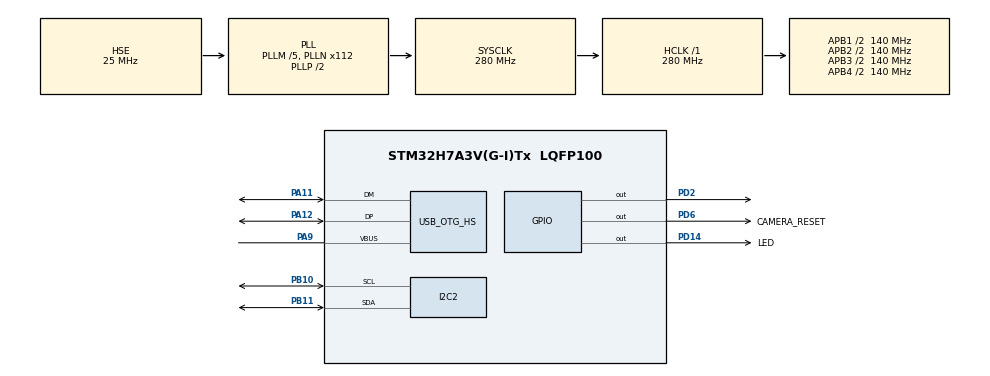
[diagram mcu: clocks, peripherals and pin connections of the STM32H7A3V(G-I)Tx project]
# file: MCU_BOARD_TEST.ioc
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CORTEX_M7.AccessPermission_Spec=MPU_REGION_FULL_ACCESS
CORTEX_M7.BaseAddress_Spec=0x30000000
CORTEX_M7.CPU_DCache=Enabled
CORTEX_M7.CPU_ICache=Enabled
CORTEX_M7.MPU_Control=MPU_PRIVILEGED_DEFAULT
CORTEX_M7.Size_Spec=MPU_REGION_SIZE_4KB
CORTEX_M7.SubRegionDisable_Spec=0x0
CORTEX_M7.default_mode_Activation=1
I2C2.Timing=0x20B0CCFF
Mcu.Family=STM32H7
Mcu.Name=STM32H7A3V(G-I)Tx
Mcu.Package=LQFP100
NVIC.OTG_HS_IRQn=true\:0\:0\:false\:false\:true\:false\:true\:true
NVIC.PriorityGroup=NVIC_PRIORITYGROUP_4
PA11.GPIO_Speed=GPIO_SPEED_FREQ_VERY_HIGH
PA11.Mode=Device_Only_FS
PA11.Signal=USB_OTG_HS_DM
PA12.GPIO_Speed=GPIO_SPEED_FREQ_VERY_HIGH
PA12.Mode=Device_Only_FS
PA12.Signal=USB_OTG_HS_DP
PA13.Mode=Serial_Wire
PA13.Signal=DEBUG_JTMS-SWDIO
PA14.Mode=Serial_Wire
PA14.Signal=DEBUG_JTCK-SWCLK
PA9.Mode=Activate_VBUS_FS
PA9.Signal=USB_OTG_HS_VBUS
PB10.GPIO_Pu=GPIO_NOPULL
PB10.Mode=I2C
PB10.Signal=I2C2_SCL
PB11.GPIO_Pu=GPIO_NOPULL
PB11.Mode=I2C
PB11.Signal=I2C2_SDA
PD14.GPIO_Label=LED
PD14.Signal=GPIO_Output
PD2.Signal=GPIO_Output
PD6.GPIO_Label=CAMERA_RESET
PD6.Signal=GPIO_Output
PH0-OSC_IN.Mode=HSE-External-Oscillator
PH0-OSC_IN.Signal=RCC_OSC_IN
PH1-OSC_OUT.Mode=HSE-External-Oscillator
PH1-OSC_OUT.Signal=RCC_OSC_OUT
ProjectManager.HeapSize=0x200
ProjectManager.StackSize=0x400
ProjectManager.TargetToolchain=STM32CubeIDE
RCC.ADCFreq_Value=50390625
RCC.APB1Freq_Value=140000000
RCC.APB2Freq_Value=140000000
RCC.APB3Freq_Value=140000000
RCC.APB4Freq_Value=140000000
RCC.CDPPRE=RCC_APB3_DIV2
RCC.CDPPRE1=RCC_APB1_DIV2
RCC.CDPPRE2=RCC_APB2_DIV2
RCC.CortexFreq_Value=280000000
RCC.DIVM1=5
RCC.DIVM3=5
RCC.DIVN1=112
RCC.DIVN3=96
RCC.DIVQ3=10
RCC.HCLKFreq_Value=280000000
RCC.HSE_VALUE=25000000
RCC.PLLSourceVirtual=RCC_PLLSOURCE_HSE
RCC.SRDPPRE=RCC_APB4_DIV2
RCC.SYSCLKFreq_VALUE=280000000
RCC.SYSCLKSource=RCC_SYSCLKSOURCE_PLLCLK
RCC.USBCLockSelection=RCC_USBCLKSOURCE_PLL3
RCC.USBFreq_Value=48000000
USB_DEVICE.CLASS_NAME_HS=CDC
USB_DEVICE.VirtualMode=Cdc
USB_DEVICE.VirtualModeHS=Cdc_HS
USB_OTG_HS.VirtualMode-Device_Only_FS=Device_Only_FS
VP_MEMORYMAP_VS_MEMORYMAP.Mode=CurAppReg
VP_USB_DEVICE_VS_USB_DEVICE_CDC_HS.Mode=CDC_HS
board=custom

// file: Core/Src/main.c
/* USER CODE BEGIN Header */
/**
  ******************************************************************************
  * @file           : main.c
  * @brief          : Main program body
  ******************************************************************************
  * @attention
  *
  * Copyright (c) 2026 STMicroelectronics.
  * All rights reserved.
  *
  * This software is licensed under terms that can be found in the LICENSE file
  * in the root directory of this software component.
  * If no LICENSE file comes with this software, it is provided AS-IS.
  *
  ******************************************************************************
  */
/* USER CODE END Header */
#include "main.h"
#include "usb_device.h"

/* USER CODE BEGIN Includes */
#include <string.h>

#include "usbd_cdc_if.h"
/* USER CODE END Includes */

/* USER CODE BEGIN PD */
// Compile-time test configuration
#define PAYLOAD_SIZE_BYTES 614400
// Valid sizes to try: 4096, 32768, 61440, 32764, 614400

#define CHUNK_SIZE_BYTES 32768
// Valid chunk sizes to try: 2048, 8192, 32768

#define SEND_PERIOD_MS 2000
#define TX_WAIT_TIMEOUT_MS 5000
#define HOST_TRIGGER_MODE 0
// Set to 1 to send a single frame only after host sends 'G'
/* USER CODE END PD */

I2C_HandleTypeDef hi2c2;

/* USER CODE BEGIN PV */
extern USBD_HandleTypeDef hUsbDeviceHS;

static uint8_t payload_buffer[PAYLOAD_SIZE_BYTES];

volatile uint32_t frames_attempted = 0;
volatile uint32_t frames_sent_ok = 0;
volatile uint32_t frames_aborted = 0;
volatile uint32_t chunks_sent_ok = 0;
volatile uint32_t chunks_failed = 0;
volatile uint32_t tx_wait_timeout_count = 0;
volatile uint8_t g_usb_rx_trigger_g = 0;
/* USER CODE END PV */

void SystemClock_Config(void);
static void MPU_Config(void);
static void MX_GPIO_Init(void);
static void MX_I2C2_Init(void);
/* USER CODE BEGIN PFP */
static void Fill_Payload(uint32_t sequence, uint8_t *buf, uint32_t len);
static uint8_t USB_Transmit_Blocking(uint8_t *buf, uint16_t len);
static uint8_t USB_Transmit_Buffer_Blocking(const uint8_t *buf, uint32_t len);
static void Send_Test_Frame(uint32_t sequence);
/* USER CODE END PFP */

int main(void)
{

  /* MPU Configuration--------------------------------------------------------*/
  MPU_Config();

  /* Enable the CPU Cache */

  /* Enable I-Cache---------------------------------------------------------*/
  SCB_EnableICache();

  /* Enable D-Cache---------------------------------------------------------*/
  SCB_EnableDCache();

  /* MCU Configuration--------------------------------------------------------*/

  /* Reset of all peripherals, Initializes the Flash interface and the Systick. */
  HAL_Init();

  /* Configure the system clock */
  SystemClock_Config();

  /* Initialize all configured peripherals */
  MX_GPIO_Init();
  MX_I2C2_Init();
  MX_USB_DEVICE_Init();
  /* USER CODE BEGIN 2 */
  uint32_t next_send_tick = HAL_GetTick();
  uint32_t sequence = 0;
  /* USER CODE END 2 */

  /* Infinite loop */
  /* USER CODE BEGIN WHILE */
  while (1)
  {
    uint32_t now = HAL_GetTick();

    if (HOST_TRIGGER_MODE)
    {
      if (CDC_ConsumeTrigger_G())
      {
        Send_Test_Frame(sequence++);
      }
    }
    else
    {
      if ((int32_t)(now - next_send_tick) >= 0)
      {
        Send_Test_Frame(sequence++);
        next_send_tick = now + SEND_PERIOD_MS;
      }
    }

    HAL_GPIO_TogglePin(LED_GPIO_Port, LED_Pin);
    HAL_Delay(1);

    /* USER CODE END WHILE */

  }
}

void SystemClock_Config(void)
{
  RCC_OscInitTypeDef RCC_OscInitStruct = {0};
  RCC_ClkInitTypeDef RCC_ClkInitStruct = {0};

  /*AXI clock gating */
  RCC->CKGAENR = 0xE003FFFF;

  /** Supply configuration update enable
  */
  HAL_PWREx_ConfigSupply(PWR_LDO_SUPPLY);

  /** Configure the main internal regulator output voltage
  */
  __HAL_PWR_VOLTAGESCALING_CONFIG(PWR_REGULATOR_VOLTAGE_SCALE0);

  while(!__HAL_PWR_GET_FLAG(PWR_FLAG_VOSRDY)) {}

  /** Initializes the RCC Oscillators according to the specified parameters
  * in the RCC_OscInitTypeDef structure.
  */
  RCC_OscInitStruct.OscillatorType = RCC_OSCILLATORTYPE_HSE;
  RCC_OscInitStruct.HSEState = RCC_HSE_ON;
  RCC_OscInitStruct.PLL.PLLState = RCC_PLL_ON;
  RCC_OscInitStruct.PLL.PLLSource = RCC_PLLSOURCE_HSE;
  RCC_OscInitStruct.PLL.PLLM = 5;
  RCC_OscInitStruct.PLL.PLLN = 112;
  RCC_OscInitStruct.PLL.PLLP = 2;
  RCC_OscInitStruct.PLL.PLLQ = 2;
  RCC_OscInitStruct.PLL.PLLR = 2;
  RCC_OscInitStruct.PLL.PLLRGE = RCC_PLL1VCIRANGE_2;
  RCC_OscInitStruct.PLL.PLLVCOSEL = RCC_PLL1VCOWIDE;
  RCC_OscInitStruct.PLL.PLLFRACN = 0;
  if (HAL_RCC_OscConfig(&RCC_OscInitStruct) != HAL_OK)
  {
    Error_Handler();
  }

  /** Initializes the CPU, AHB and APB buses clocks
  */
  RCC_ClkInitStruct.ClockType = RCC_CLOCKTYPE_HCLK|RCC_CLOCKTYPE_SYSCLK
                              |RCC_CLOCKTYPE_PCLK1|RCC_CLOCKTYPE_PCLK2
                              |RCC_CLOCKTYPE_D3PCLK1|RCC_CLOCKTYPE_D1PCLK1;
  RCC_ClkInitStruct.SYSCLKSource = RCC_SYSCLKSOURCE_PLLCLK;
  RCC_ClkInitStruct.SYSCLKDivider = RCC_SYSCLK_DIV1;
  RCC_ClkInitStruct.AHBCLKDivider = RCC_HCLK_DIV1;
  RCC_ClkInitStruct.APB3CLKDivider = RCC_APB3_DIV2;
  RCC_ClkInitStruct.APB1CLKDivider = RCC_APB1_DIV2;
  RCC_ClkInitStruct.APB2CLKDivider = RCC_APB2_DIV2;
  RCC_ClkInitStruct.APB4CLKDivider = RCC_APB4_DIV2;

  if (HAL_RCC_ClockConfig(&RCC_ClkInitStruct, FLASH_LATENCY_6) != HAL_OK)
  {
    Error_Handler();
  }
}

static void MX_I2C2_Init(void)
{

  hi2c2.Instance = I2C2;
  hi2c2.Init.Timing = 0x20B0CCFF;
  hi2c2.Init.OwnAddress1 = 0;
  hi2c2.Init.AddressingMode = I2C_ADDRESSINGMODE_7BIT;
  hi2c2.Init.DualAddressMode = I2C_DUALADDRESS_DISABLE;
  hi2c2.Init.OwnAddress2 = 0;
  hi2c2.Init.OwnAddress2Masks = I2C_OA2_NOMASK;
  hi2c2.Init.GeneralCallMode = I2C_GENERALCALL_DISABLE;
  hi2c2.Init.NoStretchMode = I2C_NOSTRETCH_DISABLE;
  if (HAL_I2C_Init(&hi2c2) != HAL_OK)
  {
    Error_Handler();
  }

  /** Configure Analogue filter
  */
  if (HAL_I2CEx_ConfigAnalogFilter(&hi2c2, I2C_ANALOGFILTER_ENABLE) != HAL_OK)
  {
    Error_Handler();
  }

  /** Configure Digital filter
  */
  if (HAL_I2CEx_ConfigDigitalFilter(&hi2c2, 0) != HAL_OK)
  {
    Error_Handler();
  }

}

static void MX_GPIO_Init(void)
{
  GPIO_InitTypeDef GPIO_InitStruct = {0};

  /* GPIO Ports Clock Enable */
  __HAL_RCC_GPIOH_CLK_ENABLE();
  __HAL_RCC_GPIOB_CLK_ENABLE();
  __HAL_RCC_GPIOD_CLK_ENABLE();
  __HAL_RCC_GPIOA_CLK_ENABLE();

  /*Configure GPIO pin Output Level */
  HAL_GPIO_WritePin(GPIOD, LED_Pin|GPIO_PIN_2|CAMERA_RESET_Pin, GPIO_PIN_RESET);

  /*Configure GPIO pins : LED_Pin PD2 CAMERA_RESET_Pin */
  GPIO_InitStruct.Pin = LED_Pin|GPIO_PIN_2|CAMERA_RESET_Pin;
  GPIO_InitStruct.Mode = GPIO_MODE_OUTPUT_PP;
  GPIO_InitStruct.Pull = GPIO_NOPULL;
  GPIO_InitStruct.Speed = GPIO_SPEED_FREQ_LOW;
  HAL_GPIO_Init(GPIOD, &GPIO_InitStruct);

}

/* USER CODE BEGIN 4 */
static void Fill_Payload(uint32_t sequence, uint8_t *buf, uint32_t len)
{
  uint32_t i;
  for (i = 0; i < len; i++)
  {
    buf[i] = (uint8_t)((sequence + i) & 0xFFu);
  }
}

static uint8_t USB_Transmit_Blocking(uint8_t *buf, uint16_t len)
{
  USBD_CDC_HandleTypeDef *hcdc;
  uint32_t start_tick;

  if (hUsbDeviceHS.dev_state != USBD_STATE_CONFIGURED)
  {
    return 0;
  }

  hcdc = (USBD_CDC_HandleTypeDef*)hUsbDeviceHS.pClassData;
  start_tick = HAL_GetTick();
  while ((hcdc != NULL) && (hcdc->TxState != 0))
  {
    if ((HAL_GetTick() - start_tick) > TX_WAIT_TIMEOUT_MS)
    {
      tx_wait_timeout_count++;
      return 0;
    }
  }

  if (CDC_Transmit_HS(buf, len) != USBD_OK)
  {
    return 0;
  }

  start_tick = HAL_GetTick();
  while ((hcdc != NULL) && (hcdc->TxState != 0))
  {
    if ((HAL_GetTick() - start_tick) > TX_WAIT_TIMEOUT_MS)
    {
      tx_wait_timeout_count++;
      return 0;
    }
  }

  return 1;
}

static uint8_t USB_Transmit_Buffer_Blocking(const uint8_t *buf, uint32_t len)
{
  uint32_t remaining = len;
  const uint8_t *p = buf;

  while (remaining > 0)
  {
    uint16_t chunk = (remaining > CHUNK_SIZE_BYTES) ? (uint16_t)CHUNK_SIZE_BYTES : (uint16_t)remaining;

    if (!USB_Transmit_Blocking((uint8_t*)p, chunk))
    {
      chunks_failed++;
      return 0;
    }

    chunks_sent_ok++;
    p += chunk;
    remaining -= chunk;
  }

  return 1;
}

static void Send_Test_Frame(uint32_t sequence)
{
  uint8_t header[12];

  frames_attempted++;

  header[0] = 0xAA;
  header[1] = 0x55;
  header[2] = 0xAA;
  header[3] = 0x55;
  header[4] = (uint8_t)(sequence & 0xFFu);
  header[5] = (uint8_t)((sequence >> 8) & 0xFFu);
  header[6] = (uint8_t)((sequence >> 16) & 0xFFu);
  header[7] = (uint8_t)((sequence >> 24) & 0xFFu);
  header[8] = (uint8_t)(PAYLOAD_SIZE_BYTES & 0xFFu);
  header[9] = (uint8_t)((PAYLOAD_SIZE_BYTES >> 8) & 0xFFu);
  header[10] = (uint8_t)((PAYLOAD_SIZE_BYTES >> 16) & 0xFFu);
  header[11] = (uint8_t)((PAYLOAD_SIZE_BYTES >> 24) & 0xFFu);

  Fill_Payload(sequence, payload_buffer, PAYLOAD_SIZE_BYTES);

  if (!USB_Transmit_Blocking(header, sizeof(header)))
  {
    frames_aborted++;
    return;
  }

  if (!USB_Transmit_Buffer_Blocking(payload_buffer, PAYLOAD_SIZE_BYTES))
  {
    frames_aborted++;
    return;
  }

  frames_sent_ok++;
}
/* USER CODE END 4 */

 /* MPU Configuration */

void MPU_Config(void)
{
  MPU_Region_InitTypeDef MPU_InitStruct = {0};

  /* Disables the MPU */
  HAL_MPU_Disable();

  /** Initializes and configures the Region and the memory to be protected
  */
  MPU_InitStruct.Enable = MPU_REGION_ENABLE;
  MPU_InitStruct.Number = MPU_REGION_NUMBER0;
  MPU_InitStruct.BaseAddress = 0x30000000;
  MPU_InitStruct.Size = MPU_REGION_SIZE_4KB;
  MPU_InitStruct.SubRegionDisable = 0x0;
  MPU_InitStruct.TypeExtField = MPU_TEX_LEVEL0;
  MPU_InitStruct.AccessPermission = MPU_REGION_FULL_ACCESS;
  MPU_InitStruct.DisableExec = MPU_INSTRUCTION_ACCESS_DISABLE;
  MPU_InitStruct.IsShareable = MPU_ACCESS_SHAREABLE;
  MPU_InitStruct.IsCacheable = MPU_ACCESS_NOT_CACHEABLE;
  MPU_InitStruct.IsBufferable = MPU_ACCESS_NOT_BUFFERABLE;

  HAL_MPU_ConfigRegion(&MPU_InitStruct);
  /* Enables the MPU */
  HAL_MPU_Enable(MPU_PRIVILEGED_DEFAULT);

}

void Error_Handler(void)
{
  __disable_irq();
  while (1)
  {
  }
}
